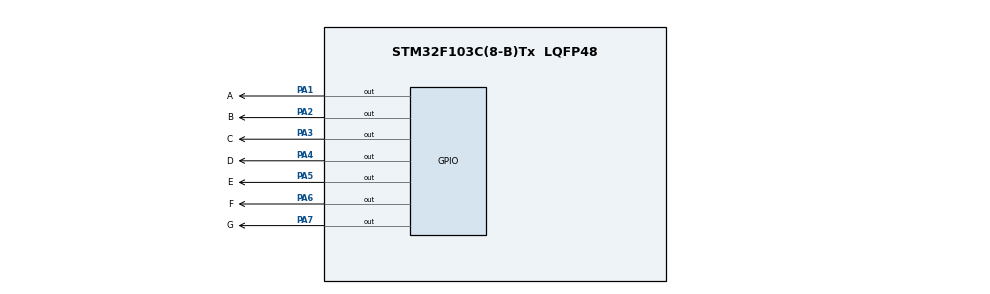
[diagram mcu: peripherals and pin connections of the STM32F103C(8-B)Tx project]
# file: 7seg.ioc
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Mcu.Family=STM32F1
Mcu.Name=STM32F103C(8-B)Tx
Mcu.Package=LQFP48
NVIC.PriorityGroup=NVIC_PRIORITYGROUP_4
PA1.GPIO_Label=A
PA1.Signal=GPIO_Output
PA13.Mode=Serial_Wire
PA13.Signal=SYS_JTMS-SWDIO
PA14.Mode=Serial_Wire
PA14.Signal=SYS_JTCK-SWCLK
PA2.GPIO_Label=B
PA2.Signal=GPIO_Output
PA3.GPIO_Label=C
PA3.Signal=GPIO_Output
PA4.GPIO_Label=D
PA4.Signal=GPIO_Output
PA5.GPIO_Label=E
PA5.Signal=GPIO_Output
PA6.GPIO_Label=F
PA6.Signal=GPIO_Output
PA7.GPIO_Label=G
PA7.Signal=GPIO_Output
PD0-OSC_IN.Mode=HSE-External-Oscillator
PD0-OSC_IN.Signal=RCC_OSC_IN
PD1-OSC_OUT.Mode=HSE-External-Oscillator
PD1-OSC_OUT.Signal=RCC_OSC_OUT
ProjectManager.HeapSize=0x200
ProjectManager.StackSize=0x400
ProjectManager.TargetToolchain=STM32CubeIDE
RCC.APB1Freq_Value=8000000
RCC.APB2Freq_Value=8000000
board=custom

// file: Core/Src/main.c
/* USER CODE BEGIN Header */
/**
  ******************************************************************************
  * @file           : main.c
  * @brief          : Main program body
  ******************************************************************************
  * @attention
  *
  * Copyright (c) 2023 STMicroelectronics.
  * All rights reserved.
  *
  * This software is licensed under terms that can be found in the LICENSE file
  * in the root directory of this software component.
  * If no LICENSE file comes with this software, it is provided AS-IS.
  *
  ******************************************************************************
  */
/* USER CODE END Header */
#include "main.h"
#include "gpio.h"

void SystemClock_Config(void);

/* USER CODE BEGIN 0 */
void segchar (uint8_t seg){
        switch (seg)
        {
                case 1:

                        SA_RESET;SB_SET;SC_SET;SD_RESET;SE_RESET;SF_RESET;SG_RESET;

                        break;

                case 2:

                        SA_SET;SB_SET;SC_RESET;SD_SET;SE_SET;SF_RESET;SG_SET;

                        break;

                case 3:

                        SA_SET;SB_SET;SC_SET;SD_SET;SE_RESET;SF_RESET;SG_SET;

                        break;

                case 4:

                        SA_RESET;SB_SET;SC_SET;SD_RESET;SE_RESET;SF_SET;SG_SET;

                        break;

                case 5:

                        SA_SET;SB_RESET;SC_SET;SD_SET;SE_RESET;SF_SET;SG_SET;

                        break;

                case 6:

                        SA_SET;SB_RESET;SC_SET;SD_SET;SE_SET;SF_SET;SG_SET;

                        break;

                case 7:

                        SA_SET;SB_SET;SC_SET;SD_RESET;SE_RESET;SF_RESET;SG_RESET;

                        break;

                case 8:

                        SA_SET;SB_SET;SC_SET;SD_SET;SE_SET;SF_SET;SG_SET;

                        break;

                case 9:

                        SA_SET;SB_SET;SC_SET;SD_SET;SE_RESET;SF_SET;SG_SET;

                        break;

                case 0:

                        SA_SET;SB_SET;SC_SET;SD_SET;SE_SET;SF_SET;SG_RESET;

                        break;
        }
}
/* USER CODE END 0 */

int main(void)
{
  /* USER CODE BEGIN 1 */
	uint8_t i;
  /* USER CODE END 1 */

  /* MCU Configuration--------------------------------------------------------*/

  /* Reset of all peripherals, Initializes the Flash interface and the Systick. */
  HAL_Init();

  /* Configure the system clock */
  SystemClock_Config();

  /* Initialize all configured peripherals */
  MX_GPIO_Init();

  /* Infinite loop */
  while (1)
  {
	  for(i=0;i<10;i++)
	  {
		  segchar(i);
		  HAL_Delay(1000);
	  }
  }
}

void SystemClock_Config(void)
{
  RCC_OscInitTypeDef RCC_OscInitStruct = {0};
  RCC_ClkInitTypeDef RCC_ClkInitStruct = {0};

  /** Initializes the RCC Oscillators according to the specified parameters
  * in the RCC_OscInitTypeDef structure.
  */
  RCC_OscInitStruct.OscillatorType = RCC_OSCILLATORTYPE_HSI;
  RCC_OscInitStruct.HSIState = RCC_HSI_ON;
  RCC_OscInitStruct.HSICalibrationValue = RCC_HSICALIBRATION_DEFAULT;
  RCC_OscInitStruct.PLL.PLLState = RCC_PLL_NONE;
  if (HAL_RCC_OscConfig(&RCC_OscInitStruct) != HAL_OK)
  {
    Error_Handler();
  }

  /** Initializes the CPU, AHB and APB buses clocks
  */
  RCC_ClkInitStruct.ClockType = RCC_CLOCKTYPE_HCLK|RCC_CLOCKTYPE_SYSCLK
                              |RCC_CLOCKTYPE_PCLK1|RCC_CLOCKTYPE_PCLK2;
  RCC_ClkInitStruct.SYSCLKSource = RCC_SYSCLKSOURCE_HSI;
  RCC_ClkInitStruct.AHBCLKDivider = RCC_SYSCLK_DIV1;
  RCC_ClkInitStruct.APB1CLKDivider = RCC_HCLK_DIV1;
  RCC_ClkInitStruct.APB2CLKDivider = RCC_HCLK_DIV1;

  if (HAL_RCC_ClockConfig(&RCC_ClkInitStruct, FLASH_LATENCY_0) != HAL_OK)
  {
    Error_Handler();
  }
}

void Error_Handler(void)
{
  __disable_irq();
  while (1)
  {
  }
}
